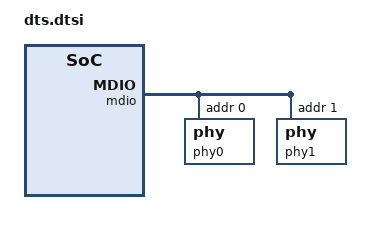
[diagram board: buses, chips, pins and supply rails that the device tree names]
/*
 * DTS Demo Code
 *
 * (C) 2019.01.06 <buddy.zhang@aliyun.com>
 *
 * This program is free software; you can redistribute it and/or modify
 * it under the terms of the GNU General Public License version 2 as
 * published by the Free Software Foundation.
 */
/ {
	DTS_demo {
		compatible = "DTS_demo, BiscuitOS";
		status = "okay";
		phy-handle = <&phy1>;
	};

	mdio {
		compatible = "DTS_mdio, BiscuitOS";
		#address-cells = <0x1>;
		#size-cells = <0x1>;

		phy0: phy@0 {
			reg = <0x0>;
		};

		phy1: phy@1 {
			reg = <0x1>;
			status = "okay";
		};
	};
};
